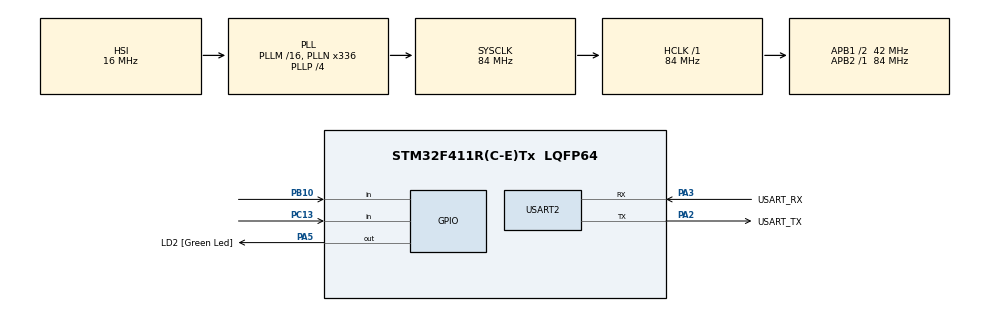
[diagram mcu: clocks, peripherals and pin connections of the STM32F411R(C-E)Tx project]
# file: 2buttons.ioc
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Mcu.Family=STM32F4
Mcu.Name=STM32F411R(C-E)Tx
Mcu.Package=LQFP64
NVIC.PriorityGroup=NVIC_PRIORITYGROUP_0
PA13.GPIO_Label=TMS
PA13.Mode=Serial_Wire
PA13.Signal=SYS_JTMS-SWDIO
PA14.GPIO_Label=TCK
PA14.Mode=Serial_Wire
PA14.Signal=SYS_JTCK-SWCLK
PA2.GPIO_Label=USART_TX
PA2.Mode=Asynchronous
PA2.Signal=USART2_TX
PA3.GPIO_Label=USART_RX
PA3.Mode=Asynchronous
PA3.Signal=USART2_RX
PA5.GPIO_Label=LD2 [Green Led]
PA5.Signal=GPIO_Output
PB10.GPIO_PuPd=GPIO_PULLUP
PB10.Signal=GPIO_Input
PB3.GPIO_Label=SWO
PB3.Signal=SYS_JTDO-SWO
PC13-ANTI_TAMP.GPIO_PuPd=GPIO_PULLUP
PC13-ANTI_TAMP.Signal=GPIO_Input
PC14-OSC32_IN.Mode=LSE-External-Oscillator
PC14-OSC32_IN.Signal=RCC_OSC32_IN
PC15-OSC32_OUT.Mode=LSE-External-Oscillator
PC15-OSC32_OUT.Signal=RCC_OSC32_OUT
PH0\ -\ OSC_IN.Mode=HSE-External-Clock-Source
PH0\ -\ OSC_IN.Signal=RCC_OSC_IN
PH1\ -\ OSC_OUT.Mode=HSE-External-Clock-Source
PH1\ -\ OSC_OUT.Signal=RCC_OSC_OUT
ProjectManager.HeapSize=0x200
ProjectManager.StackSize=0x400
ProjectManager.TargetToolchain=STM32CubeIDE
RCC.48MHZClocksFreq_Value=84000000
RCC.AHBFreq_Value=84000000
RCC.APB1CLKDivider=RCC_HCLK_DIV2
RCC.APB1Freq_Value=42000000
RCC.APB1TimFreq_Value=84000000
RCC.APB2Freq_Value=84000000
RCC.APB2TimFreq_Value=84000000
RCC.CortexFreq_Value=84000000
RCC.FLatency-AdvancedSettings=FLASH_LATENCY_2
RCC.HCLKFreq_Value=84000000
RCC.HSE_VALUE=8000000
RCC.HSI_VALUE=16000000
RCC.PLLN=336
RCC.PLLP=RCC_PLLP_DIV4
RCC.SYSCLKFreq_VALUE=84000000
RCC.SYSCLKSource=RCC_SYSCLKSOURCE_PLLCLK
RCC.VCOOutputFreq_Value=336000000
USART2.VirtualMode=VM_ASYNC
board=NUCLEO-F411RE

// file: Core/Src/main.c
/* USER CODE BEGIN Header */
/**
  ******************************************************************************
  * @file           : main.c
  * @brief          : Main program body
  ******************************************************************************
  * @attention
  *
  * Copyright (c) 2025 STMicroelectronics.
  * All rights reserved.
  *
  * This software is licensed under terms that can be found in the LICENSE file
  * in the root directory of this software component.
  * If no LICENSE file comes with this software, it is provided AS-IS.
  *
  ******************************************************************************
  */
/* USER CODE END Header */
#include "main.h"

UART_HandleTypeDef huart2;

void SystemClock_Config(void);
static void MX_GPIO_Init(void);
static void MX_USART2_UART_Init(void);

int main(void)
{

  /* MCU Configuration--------------------------------------------------------*/

  /* Reset of all peripherals, Initializes the Flash interface and the Systick. */
  HAL_Init();

  /* Configure the system clock */
  SystemClock_Config();

  /* Initialize all configured peripherals */
  MX_GPIO_Init();
  MX_USART2_UART_Init();

  /* Infinite loop */
  /* USER CODE BEGIN WHILE */
  uint8_t ledState = 0;
  uint8_t prevPC13 = 1;
  uint8_t prevPB10 = 1;
  while (1)
  {
    /* USER CODE END WHILE */

    /* USER CODE BEGIN 3 */
	  uint8_t currPC13 = HAL_GPIO_ReadPin(GPIOC, GPIO_PIN_13);
	  uint8_t currPB10 = HAL_GPIO_ReadPin(GPIOB, GPIO_PIN_10);

	  if (prevPC13 == 1 && currPC13 == 0)
	  {
		  ledState = 1;
		  HAL_Delay(200);
	  }
	  if (prevPB10 == 1 && currPB10 == 0)
	  {

		  ledState = 0;
		  HAL_Delay(200);
	  }

	  HAL_GPIO_WritePin(GPIOA, GPIO_PIN_5, ledState ? GPIO_PIN_SET : GPIO_PIN_RESET);

	  prevPC13 = currPC13;
	  prevPB10 = currPB10;

	  HAL_Delay(50);
  /* USER CODE END 3 */
  }
}
void SystemClock_Config(void)
{
  RCC_OscInitTypeDef RCC_OscInitStruct = {0};
  RCC_ClkInitTypeDef RCC_ClkInitStruct = {0};

  /** Configure the main internal regulator output voltage
  */
  __HAL_RCC_PWR_CLK_ENABLE();
  __HAL_PWR_VOLTAGESCALING_CONFIG(PWR_REGULATOR_VOLTAGE_SCALE1);

  /** Initializes the RCC Oscillators according to the specified parameters
  * in the RCC_OscInitTypeDef structure.
  */
  RCC_OscInitStruct.OscillatorType = RCC_OSCILLATORTYPE_HSI;
  RCC_OscInitStruct.HSIState = RCC_HSI_ON;
  RCC_OscInitStruct.HSICalibrationValue = RCC_HSICALIBRATION_DEFAULT;
  RCC_OscInitStruct.PLL.PLLState = RCC_PLL_ON;
  RCC_OscInitStruct.PLL.PLLSource = RCC_PLLSOURCE_HSI;
  RCC_OscInitStruct.PLL.PLLM = 16;
  RCC_OscInitStruct.PLL.PLLN = 336;
  RCC_OscInitStruct.PLL.PLLP = RCC_PLLP_DIV4;
  RCC_OscInitStruct.PLL.PLLQ = 4;
  if (HAL_RCC_OscConfig(&RCC_OscInitStruct) != HAL_OK)
  {
    Error_Handler();
  }

  /** Initializes the CPU, AHB and APB buses clocks
  */
  RCC_ClkInitStruct.ClockType = RCC_CLOCKTYPE_HCLK|RCC_CLOCKTYPE_SYSCLK
                              |RCC_CLOCKTYPE_PCLK1|RCC_CLOCKTYPE_PCLK2;
  RCC_ClkInitStruct.SYSCLKSource = RCC_SYSCLKSOURCE_PLLCLK;
  RCC_ClkInitStruct.AHBCLKDivider = RCC_SYSCLK_DIV1;
  RCC_ClkInitStruct.APB1CLKDivider = RCC_HCLK_DIV2;
  RCC_ClkInitStruct.APB2CLKDivider = RCC_HCLK_DIV1;

  if (HAL_RCC_ClockConfig(&RCC_ClkInitStruct, FLASH_LATENCY_2) != HAL_OK)
  {
    Error_Handler();
  }
}

static void MX_USART2_UART_Init(void)
{

  huart2.Instance = USART2;
  huart2.Init.BaudRate = 115200;
  huart2.Init.WordLength = UART_WORDLENGTH_8B;
  huart2.Init.StopBits = UART_STOPBITS_1;
  huart2.Init.Parity = UART_PARITY_NONE;
  huart2.Init.Mode = UART_MODE_TX_RX;
  huart2.Init.HwFlowCtl = UART_HWCONTROL_NONE;
  huart2.Init.OverSampling = UART_OVERSAMPLING_16;
  if (HAL_UART_Init(&huart2) != HAL_OK)
  {
    Error_Handler();
  }

}

static void MX_GPIO_Init(void)
{
  GPIO_InitTypeDef GPIO_InitStruct = {0};

  /* GPIO Ports Clock Enable */
  __HAL_RCC_GPIOC_CLK_ENABLE();
  __HAL_RCC_GPIOH_CLK_ENABLE();
  __HAL_RCC_GPIOA_CLK_ENABLE();
  __HAL_RCC_GPIOB_CLK_ENABLE();

  /*Configure GPIO pin Output Level */
  HAL_GPIO_WritePin(GPIOA, GPIO_PIN_5, GPIO_PIN_RESET);

  /*Configure GPIO pin : PC13 */
  GPIO_InitStruct.Pin = GPIO_PIN_13;
  GPIO_InitStruct.Mode = GPIO_MODE_INPUT;
  GPIO_InitStruct.Pull = GPIO_PULLUP;
  HAL_GPIO_Init(GPIOC, &GPIO_InitStruct);

  /*Configure GPIO pin : PA5 */
  GPIO_InitStruct.Pin = GPIO_PIN_5;
  GPIO_InitStruct.Mode = GPIO_MODE_OUTPUT_PP;
  GPIO_InitStruct.Pull = GPIO_NOPULL;
  GPIO_InitStruct.Speed = GPIO_SPEED_FREQ_LOW;
  HAL_GPIO_Init(GPIOA, &GPIO_InitStruct);

  /*Configure GPIO pin : PB10 */
  GPIO_InitStruct.Pin = GPIO_PIN_10;
  GPIO_InitStruct.Mode = GPIO_MODE_INPUT;
  GPIO_InitStruct.Pull = GPIO_PULLUP;
  HAL_GPIO_Init(GPIOB, &GPIO_InitStruct);

}

void Error_Handler(void)
{
  __disable_irq();
  while (1)
  {
  }
}
